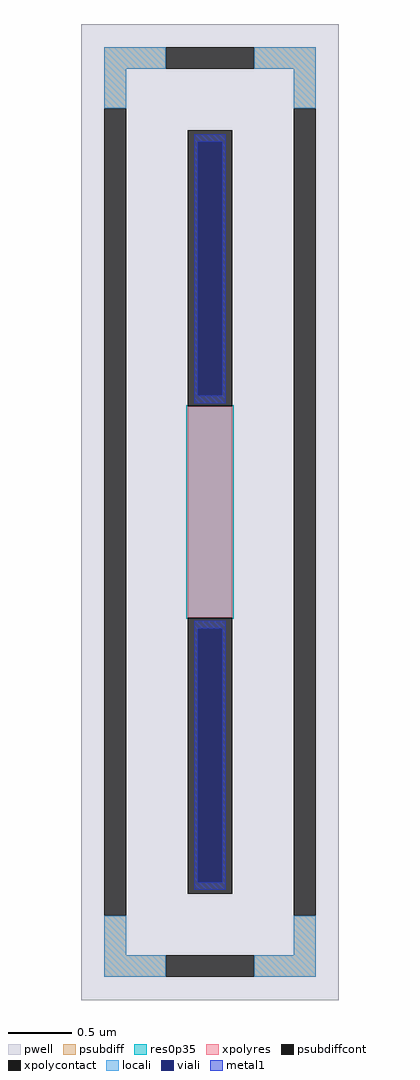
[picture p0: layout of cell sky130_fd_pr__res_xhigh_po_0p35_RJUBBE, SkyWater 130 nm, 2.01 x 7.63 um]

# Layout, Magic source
magic
tech sky130A
magscale 1 2
<< pwell >>
rect -201 -763 201 763
<< psubdiff >>
rect -165 693 -69 727
rect 69 693 165 727
rect -165 631 -131 693
rect 131 631 165 693
rect -165 -693 -131 -631
rect 131 -693 165 -631
rect -165 -727 -69 -693
rect 69 -727 165 -693
<< psubdiffcont >>
rect -69 693 69 727
rect -165 -631 -131 631
rect 131 -631 165 631
rect -69 -727 69 -693
<< xpolycontact >>
rect -35 165 35 597
rect -35 -597 35 -165
<< xpolyres >>
rect -35 -165 35 165
<< locali >>
rect -165 693 -69 727
rect 69 693 165 727
rect -165 631 -131 693
rect 131 631 165 693
rect -165 -693 -131 -631
rect 131 -693 165 -631
rect -165 -727 -69 -693
rect 69 -727 165 -693
<< viali >>
rect -19 182 19 579
rect -19 -579 19 -182
<< metal1 >>
rect -25 579 25 591
rect -25 182 -19 579
rect 19 182 25 579
rect -25 170 25 182
rect -25 -182 25 -170
rect -25 -579 -19 -182
rect 19 -579 25 -182
rect -25 -591 25 -579
<< res0p35 >>
rect -37 -167 37 167
<< properties >>
string FIXED_BBOX -148 -710 148 710
string gencell sky130_fd_pr__res_xhigh_po_0p35
string library sky130
string parameters w 0.350 l 1.65 m 1 nx 1 wmin 0.350 lmin 0.50 rho 2000 val 10.504k dummy 0 dw 0.0 term 188.2 sterm 0.0 caplen 0 wmax 0.350 guard 1 glc 1 grc 1 gtc 1 gbc 1 compatible {sky130_fd_pr__res_xhigh_po_0p35  sky130_fd_pr__res_xhigh_po_0p69 sky130_fd_pr__res_xhigh_po_1p41  sky130_fd_pr__res_xhigh_po_2p85 sky130_fd_pr__res_xhigh_po_5p73} snake 0 full_metal 1 n_guard 0 hv_guard 0 vias 1 viagb 0 viagt 0 viagl 0 viagr 0
<< end >>
